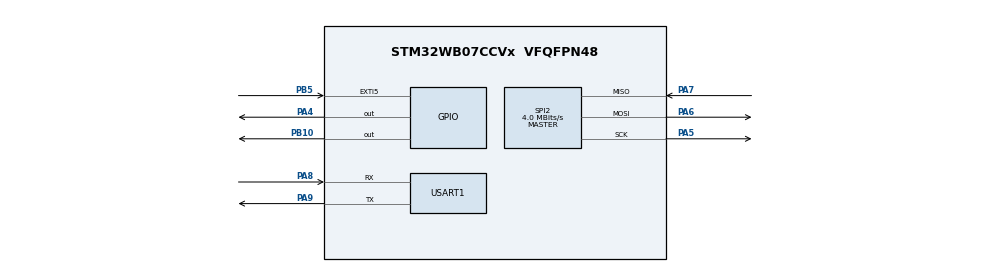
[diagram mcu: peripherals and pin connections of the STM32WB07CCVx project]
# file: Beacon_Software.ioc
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Mcu.Family=STM32WB0
Mcu.Name=STM32WB07CCVx
Mcu.Package=VFQFPN48
NVIC.RADIO_TIMER_CPU_WKUP_IRQn=true\:0\:0\:false\:false\:true\:false\:true\:true
NVIC.RADIO_TIMER_ERROR_IRQn=true\:0\:0\:false\:false\:true\:false\:true\:true
NVIC.RADIO_TIMER_TXRX_WKUP_IRQn=true\:0\:0\:false\:false\:true\:false\:true\:true
NVIC.RADIO_TXRX_IRQn=true\:0\:0\:false\:false\:true\:false\:true\:true
NVIC.RADIO_TXRX_SEQ_IRQn=true\:0\:0\:false\:false\:true\:false\:true\:true
OSCIN.Mode=HSE-External-Oscillator
OSCIN.Signal=RCC_OSC_IN
OSCOUT.Mode=HSE-External-Oscillator
OSCOUT.Signal=RCC_OSC_OUT
PA2.Mode=Serial_Wire
PA2.Signal=DEBUG_SWDIO
PA3.Mode=Serial_Wire
PA3.Signal=DEBUG_SWCLK
PA4.Signal=GPIO_Output
PA5.Mode=Full_Duplex_Master
PA5.Signal=SPI2_SCK
PA6.Mode=Full_Duplex_Master
PA6.Signal=SPI2_MOSI
PA7.Mode=Full_Duplex_Master
PA7.Signal=SPI2_MISO
PA8.Mode=Asynchronous
PA8.Signal=USART1_RX
PA9.Mode=Asynchronous
PA9.Signal=USART1_TX
PB10.Signal=GPIO_Output
PB12.Mode=LSE-External-Oscillator
PB12.Signal=RCC_OSC32_OUT
PB13.Mode=LSE-External-Oscillator
PB13.Signal=RCC_OSC32_IN
PB5.Signal=GPXTI5
ProjectManager.HeapSize=0x000
ProjectManager.StackSize=0xC00
ProjectManager.TargetToolchain=STM32CubeIDE
RCC.HSE_VALUE=32000000
RCC.HSI_VALUE=64000000
RCC.RC64MPLLSource=RCC_LSCOSOURCE_PLL64
RCC.RTCClockSelection=RCC_RTC_WDG_BLEWKUP_CLKSOURCE_LSE
RF1.Mode=RF1_Activate
RF1.Signal=RADIO_RF1
SPI2.BaudRatePrescaler=SPI_BAUDRATEPRESCALER_16
SPI2.CalculateBaudRate=4.0 MBits/s
SPI2.DataSize=SPI_DATASIZE_8BIT
SPI2.Direction=SPI_DIRECTION_2LINES
SPI2.Mode=SPI_MODE_MASTER
SPI2.VirtualType=VM_MASTER
USART1.VirtualMode-Asynchronous=VM_ASYNC
VP_MEMORYMAP_VS_MEMORYMAP.Mode=CurAppReg
VP_PWR_VS_SECSignals.Mode=Security/Privilege
VP_RADIO_TIMER_VS_RADIO.Mode=RADIO_Activate
board=custom

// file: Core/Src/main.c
/* USER CODE BEGIN Header */
/**
 ******************************************************************************
 * @file           : main.c
 * @brief          : Main program body
 ******************************************************************************
 * @attention
 *
 * Copyright (c) 2025 STMicroelectronics.
 * All rights reserved.
 *
 * This software is licensed under terms that can be found in the LICENSE file
 * in the root directory of this software component.
 * If no LICENSE file comes with this software, it is provided AS-IS.
 *
 ******************************************************************************
 */
/* USER CODE END Header */
#include "main.h"

/* USER CODE BEGIN Includes */
#include "DW1000.h"
/* USER CODE END Includes */

/* USER CODE BEGIN PD */

/* Beacon Channel (1-39) 0 is reserved */
#define BEACON_CHANNEL			(2)

#define MAX_NUM_PACKET          (100)     /* Number of packets used for the test */
#define TX_WAKEUP_TIME          (400)     /* 400 us */
#define RX_WAKEUP_TIME          (380)     /* 300 us */
#define RX_TIMEOUT_ACK          (40000)   /* 400 us */
#define RX_TIMEOUT           	(100000)  /* 100 ms */
#define MAX_BEACON_COUNT 		(40)
/* USER CODE END PD */

SPI_HandleTypeDef hspi2;

UART_HandleTypeDef huart1;

void SystemClock_Config(void);
void PeriphCommonClock_Config(void);
static void MX_GPIO_Init(void);
static void MX_SPI2_Init(void);
static void MX_USART1_UART_Init(void);
static void MX_RADIO_Init(void);
static void MX_RADIO_TIMER_Init(void);

/* USER CODE BEGIN 0 */
DW1000_t dw1000 = { .spi = &hspi2, .NSS_port = GPIOA, .NSS_pin = GPIO_PIN_4,
		.NRST_port = GPIOB, .NRST_pin = GPIO_PIN_10, .tx = 0 };

uint8_t ranging = FALSE;
uint8_t sendAckData[MAX_PACKET_LENGTH];
uint8_t receivedData[MAX_PACKET_LENGTH];

/* USER CODE END 0 */

int main(void) {

	/* MCU Configuration--------------------------------------------------------*/

	/* Reset of all peripherals, Initializes the Flash interface and the Systick. */
	HAL_Init();

	/* Configure the system clock */
	SystemClock_Config();

	/* Configure the peripherals common clocks */
	PeriphCommonClock_Config();

	/* Initialize all configured peripherals */
	MX_GPIO_Init();
	MX_SPI2_Init();
	MX_USART1_UART_Init();
	MX_RADIO_Init();
	MX_RADIO_TIMER_Init();
	/* USER CODE BEGIN 2 */
	DW1000_init(&dw1000);
	uint8_t pll_lock = DW1000_config(&dw1000, &dw1000_cfg);
	if (pll_lock) {
		hspi2.Init.BaudRatePrescaler = SPI_BAUDRATEPRESCALER_4;
		HAL_SPI_Init(&hspi2);
	}
	uint64_t ID = *((uint64_t*) UID64_BASE);
	uint8_t i = 2;
	sendAckData[0] = 0x1D;
	sendAckData[1] = 8;
	do {
		sendAckData[i++] = ID & 0xFF;
	} while (ID >>= 8);
	HAL_RADIO_SetNetworkID(0x88DF88DF);
	HAL_RADIO_SetTxPower(0x18);
	HAL_RADIO_ReceivePacketWithAck(BEACON_CHANNEL, RX_WAKEUP_TIME, receivedData,
			sendAckData, RX_TIMEOUT, MAX_LL_PACKET_LENGTH, HAL_RADIO_Callback);

	/* USER CODE END 2 */

	/* Infinite loop */
	/* USER CODE BEGIN WHILE */
	while (1) {
		HAL_RADIO_TIMER_Tick();
		if (ranging == TRUE) {
			double distance = DW1000_responder(&dw1000, BEACON_CHANNEL);
			uint8_t meters = (uint8_t) distance;
			uint8_t centimeters = (uint8_t) ((distance - meters) * 100);
			if (meters != 0 || centimeters != 0) {
				sendAckData[1] = 10;
				sendAckData[10] = meters;
				sendAckData[11] = centimeters;
				ranging = FALSE;
				distance = 0;
			}
			/* USER CODE END WHILE */

		}
	}
}
void SystemClock_Config(void) {
	RCC_OscInitTypeDef RCC_OscInitStruct = { 0 };
	RCC_ClkInitTypeDef RCC_ClkInitStruct = { 0 };

	/** Initializes the RCC Oscillators according to the specified parameters
	 * in the RCC_OscInitTypeDef structure.
	 */
	RCC_OscInitStruct.OscillatorType = RCC_OSCILLATORTYPE_HSE
			| RCC_OSCILLATORTYPE_LSE;
	RCC_OscInitStruct.HSEState = RCC_HSE_ON;
	RCC_OscInitStruct.LSEState = RCC_LSE_ON;
	if (HAL_RCC_OscConfig(&RCC_OscInitStruct) != HAL_OK) {
		Error_Handler();
	}

	/** Configure the SYSCLKSource and SYSCLKDivider
	 */
	RCC_ClkInitStruct.SYSCLKSource = RCC_SYSCLKSOURCE_RC64MPLL;
	RCC_ClkInitStruct.SYSCLKDivider = RCC_RC64MPLL_DIV1;

	if (HAL_RCC_ClockConfig(&RCC_ClkInitStruct, FLASH_WAIT_STATES_1)
			!= HAL_OK) {
		Error_Handler();
	}
}

void PeriphCommonClock_Config(void) {
	RCC_PeriphCLKInitTypeDef PeriphClkInitStruct = { 0 };

	/** Initializes the peripherals clock
	 */
	PeriphClkInitStruct.PeriphClockSelection = RCC_PERIPHCLK_SMPS;
	PeriphClkInitStruct.SmpsDivSelection = RCC_SMPSCLK_DIV4;

	if (HAL_RCCEx_PeriphCLKConfig(&PeriphClkInitStruct) != HAL_OK) {
		Error_Handler();
	}
}

static void MX_RADIO_Init(void) {

	RADIO_HandleTypeDef hradio = { 0 };

	hradio.Instance = RADIO;
	HAL_RADIO_Init(&hradio);

}

static void MX_RADIO_TIMER_Init(void) {

	RADIO_TIMER_InitTypeDef RADIO_TIMER_InitStruct = { 0 };

	if (__HAL_RCC_RADIO_IS_CLK_DISABLED()) {
		/* Radio Peripheral reset */
		__HAL_RCC_RADIO_FORCE_RESET();
		__HAL_RCC_RADIO_RELEASE_RESET();

		/* Enable Radio peripheral clock */
		__HAL_RCC_RADIO_CLK_ENABLE();
	}
	/* Wait to be sure that the Radio Timer is active */
	while (LL_RADIO_TIMER_GetAbsoluteTime(WAKEUP) < 0x10)
		;
	RADIO_TIMER_InitStruct.XTAL_StartupTime = 320;
	RADIO_TIMER_InitStruct.enableInitialCalibration = FALSE;
	RADIO_TIMER_InitStruct.periodicCalibrationInterval = 0;
	HAL_RADIO_TIMER_Init(&RADIO_TIMER_InitStruct);

}

static void MX_SPI2_Init(void) {

	/* SPI2 parameter configuration*/
	hspi2.Instance = SPI2;
	hspi2.Init.Mode = SPI_MODE_MASTER;
	hspi2.Init.Direction = SPI_DIRECTION_2LINES;
	hspi2.Init.DataSize = SPI_DATASIZE_8BIT;
	hspi2.Init.CLKPolarity = SPI_POLARITY_LOW;
	hspi2.Init.CLKPhase = SPI_PHASE_1EDGE;
	hspi2.Init.NSS = SPI_NSS_SOFT;
	hspi2.Init.BaudRatePrescaler = SPI_BAUDRATEPRESCALER_16;
	hspi2.Init.FirstBit = SPI_FIRSTBIT_MSB;
	hspi2.Init.TIMode = SPI_TIMODE_DISABLE;
	hspi2.Init.CRCCalculation = SPI_CRCCALCULATION_DISABLE;
	hspi2.Init.CRCPolynomial = 7;
	hspi2.Init.CRCLength = SPI_CRC_LENGTH_DATASIZE;
	hspi2.Init.NSSPMode = SPI_NSS_PULSE_ENABLE;
	if (HAL_SPI_Init(&hspi2) != HAL_OK) {
		Error_Handler();
	}

}

static void MX_USART1_UART_Init(void) {

	huart1.Instance = USART1;
	huart1.Init.BaudRate = 115200;
	huart1.Init.WordLength = UART_WORDLENGTH_8B;
	huart1.Init.StopBits = UART_STOPBITS_1;
	huart1.Init.Parity = UART_PARITY_NONE;
	huart1.Init.Mode = UART_MODE_TX_RX;
	huart1.Init.HwFlowCtl = UART_HWCONTROL_NONE;
	huart1.Init.OverSampling = UART_OVERSAMPLING_16;
	huart1.Init.OneBitSampling = UART_ONE_BIT_SAMPLE_DISABLE;
	huart1.Init.ClockPrescaler = UART_PRESCALER_DIV1;
	huart1.AdvancedInit.AdvFeatureInit = UART_ADVFEATURE_NO_INIT;
	if (HAL_UART_Init(&huart1) != HAL_OK) {
		Error_Handler();
	}
	if (HAL_UARTEx_SetTxFifoThreshold(&huart1, UART_TXFIFO_THRESHOLD_1_8)
			!= HAL_OK) {
		Error_Handler();
	}
	if (HAL_UARTEx_SetRxFifoThreshold(&huart1, UART_RXFIFO_THRESHOLD_1_8)
			!= HAL_OK) {
		Error_Handler();
	}
	if (HAL_UARTEx_DisableFifoMode(&huart1) != HAL_OK) {
		Error_Handler();
	}

}

static void MX_GPIO_Init(void) {
	GPIO_InitTypeDef GPIO_InitStruct = { 0 };

	/* GPIO Ports Clock Enable */
	__HAL_RCC_GPIOA_CLK_ENABLE();
	__HAL_RCC_GPIOB_CLK_ENABLE();

	/*Configure GPIO pin Output Level */
	HAL_GPIO_WritePin(GPIOA, GPIO_PIN_4, GPIO_PIN_RESET);

	/*Configure GPIO pin Output Level */
	HAL_GPIO_WritePin(GPIOB, GPIO_PIN_10, GPIO_PIN_RESET);

	/*Configure GPIO pin : PA2 */
	GPIO_InitStruct.Pin = GPIO_PIN_2;
	GPIO_InitStruct.Mode = GPIO_MODE_AF_PP;
	GPIO_InitStruct.Pull = GPIO_PULLUP;
	GPIO_InitStruct.Speed = GPIO_SPEED_FREQ_LOW;
	GPIO_InitStruct.Alternate = GPIO_AF5_SWDIO;
	HAL_GPIO_Init(GPIOA, &GPIO_InitStruct);

	/*Configure GPIO pin : PA4 */
	GPIO_InitStruct.Pin = GPIO_PIN_4;
	GPIO_InitStruct.Mode = GPIO_MODE_OUTPUT_PP;
	GPIO_InitStruct.Pull = GPIO_NOPULL;
	GPIO_InitStruct.Speed = GPIO_SPEED_FREQ_LOW;
	HAL_GPIO_Init(GPIOA, &GPIO_InitStruct);

	/*Configure GPIO pin : PB10 */
	GPIO_InitStruct.Pin = GPIO_PIN_10;
	GPIO_InitStruct.Mode = GPIO_MODE_OUTPUT_PP;
	GPIO_InitStruct.Pull = GPIO_NOPULL;
	GPIO_InitStruct.Speed = GPIO_SPEED_FREQ_LOW;
	HAL_GPIO_Init(GPIOB, &GPIO_InitStruct);

	/*Configure GPIO pin : PB5 */
	GPIO_InitStruct.Pin = GPIO_PIN_5;
	GPIO_InitStruct.Mode = GPIO_MODE_IT_RISING;
	GPIO_InitStruct.Pull = GPIO_NOPULL;
	HAL_GPIO_Init(GPIOB, &GPIO_InitStruct);

	/**/
	LL_PWR_EnableGPIOPullUp(LL_PWR_GPIO_A, LL_PWR_GPIO_BIT_2);

	/**/
	LL_PWR_SetNoPullA(LL_PWR_GPIO_BIT_4);

	/**/
	LL_PWR_SetNoPullB(LL_PWR_GPIO_BIT_10);

}

/* USER CODE BEGIN 4 */
void HAL_RADIO_CallbackRcvError(RxStats_t *rxPacketStats) {

	HAL_RADIO_ReceivePacketWithAck(BEACON_CHANNEL, RX_WAKEUP_TIME, receivedData,
			sendAckData, RX_TIMEOUT, MAX_LL_PACKET_LENGTH, HAL_RADIO_Callback);

}

void HAL_RADIO_CallbackRcvTimeout(RxStats_t *rxPacketStats) {
	HAL_RADIO_ReceivePacketWithAck(BEACON_CHANNEL, RX_WAKEUP_TIME, receivedData,
			sendAckData, RX_TIMEOUT, MAX_LL_PACKET_LENGTH, HAL_RADIO_Callback);
}

void HAL_RADIO_CallbackTxDone(void) {

	HAL_RADIO_ReceivePacketWithAck(BEACON_CHANNEL, RX_WAKEUP_TIME, receivedData,
			sendAckData, RX_TIMEOUT, MAX_LL_PACKET_LENGTH, HAL_RADIO_Callback);

}

void HAL_RADIO_CallbackRcvOk(RxStats_t *rxPacketStats) {
	if (receivedData[0] == 0x1D) {
		sendAckData[10] = 0;
		sendAckData[11] = 0;
		ranging = TRUE;
	}

	HAL_RADIO_ReceivePacketWithAck(BEACON_CHANNEL, RX_WAKEUP_TIME, receivedData,
			sendAckData, RX_TIMEOUT, MAX_LL_PACKET_LENGTH, HAL_RADIO_Callback);

}
/* USER CODE END 4 */

void Error_Handler(void) {
	__disable_irq();
	while (1) {
	}
}
